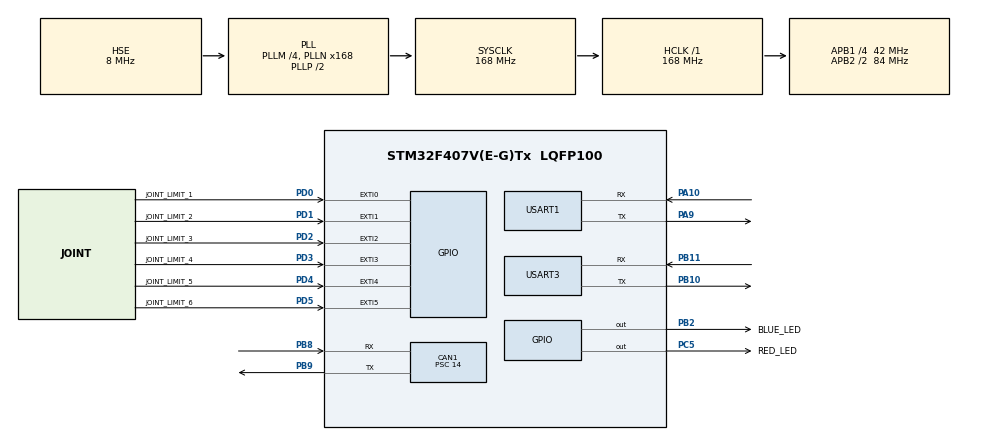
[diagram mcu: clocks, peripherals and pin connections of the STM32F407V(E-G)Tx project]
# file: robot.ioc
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CAN1.ABOM=DISABLE
CAN1.AWUM=ENABLE
CAN1.BS1=CAN_BS1_4TQ
CAN1.CalculateBaudRate=499999
CAN1.CalculateTimeBit=2000
CAN1.CalculateTimeQuantum=333.33333333333337
CAN1.Mode=CAN_MODE_NORMAL
CAN1.Prescaler=14
Dma.Request0=USART3_RX
Dma.USART3_RX.0.Direction=DMA_PERIPH_TO_MEMORY
Dma.USART3_RX.0.FIFOMode=DMA_FIFOMODE_DISABLE
Dma.USART3_RX.0.Instance=DMA1_Stream1
Dma.USART3_RX.0.MemDataAlignment=DMA_MDATAALIGN_BYTE
Dma.USART3_RX.0.MemInc=DMA_MINC_ENABLE
Dma.USART3_RX.0.Mode=DMA_CIRCULAR
Dma.USART3_RX.0.PeriphDataAlignment=DMA_PDATAALIGN_BYTE
Dma.USART3_RX.0.PeriphInc=DMA_PINC_DISABLE
Dma.USART3_RX.0.Priority=DMA_PRIORITY_HIGH
FREERTOS.Tasks01=defaultTask,24,128,StartDefaultTask,Default,NULL,Dynamic,NULL,NULL
FREERTOS.configENABLE_FPU=1
FREERTOS.configUSE_NEWLIB_REENTRANT=0
Mcu.Family=STM32F4
Mcu.Name=STM32F407V(E-G)Tx
Mcu.Package=LQFP100
NVIC.CAN1_RX0_IRQn=true\:6\:0\:true\:false\:true\:true\:true\:true\:true
NVIC.DMA1_Stream1_IRQn=true\:5\:0\:false\:false\:true\:true\:false\:true\:true
NVIC.EXTI0_IRQn=true\:5\:0\:true\:false\:true\:true\:true\:true\:true
NVIC.EXTI1_IRQn=true\:5\:0\:false\:false\:true\:true\:true\:true\:true
NVIC.EXTI2_IRQn=true\:5\:0\:false\:false\:true\:true\:true\:true\:true
NVIC.EXTI3_IRQn=true\:5\:0\:false\:false\:true\:true\:true\:true\:true
NVIC.EXTI4_IRQn=true\:5\:0\:false\:false\:true\:true\:true\:true\:true
NVIC.EXTI9_5_IRQn=true\:5\:0\:false\:false\:true\:true\:true\:true\:true
NVIC.PriorityGroup=NVIC_PRIORITYGROUP_4
NVIC.TIM6_DAC_IRQn=true\:15\:0\:false\:false\:true\:false\:false\:true\:true
NVIC.TimeBase=TIM6_DAC_IRQn
NVIC.TimeBaseIP=TIM6
NVIC.USART1_IRQn=true\:6\:0\:true\:false\:true\:true\:true\:true\:true
NVIC.USART3_IRQn=true\:6\:0\:true\:false\:true\:true\:true\:true\:true
PA10.Mode=Asynchronous
PA10.Signal=USART1_RX
PA13.Mode=Serial_Wire
PA13.Signal=SYS_JTMS-SWDIO
PA14.Mode=Serial_Wire
PA14.Signal=SYS_JTCK-SWCLK
PA9.Mode=Asynchronous
PA9.Signal=USART1_TX
PB10.Mode=Asynchronous
PB10.Signal=USART3_TX
PB11.Mode=Asynchronous
PB11.Signal=USART3_RX
PB2.GPIO_Label=BLUE_LED
PB2.PinState=GPIO_PIN_RESET
PB2.Signal=GPIO_Output
PB8.Mode=CAN_Activate
PB8.Signal=CAN1_RX
PB9.Mode=CAN_Activate
PB9.Signal=CAN1_TX
PC5.GPIO_Label=RED_LED
PC5.PinState=GPIO_PIN_RESET
PC5.Signal=GPIO_Output
PD0.GPIO_Label=JOINT_LIMIT_1
PD0.GPIO_ModeDefaultEXTI=GPIO_MODE_IT_RISING_FALLING
PD0.GPIO_PuPd=GPIO_PULLUP
PD0.Signal=GPXTI0
PD1.GPIO_Label=JOINT_LIMIT_2
PD1.GPIO_ModeDefaultEXTI=GPIO_MODE_IT_RISING_FALLING
PD1.GPIO_PuPd=GPIO_PULLUP
PD1.Signal=GPXTI1
PD2.GPIO_Label=JOINT_LIMIT_3
PD2.GPIO_ModeDefaultEXTI=GPIO_MODE_IT_RISING_FALLING
PD2.GPIO_PuPd=GPIO_PULLUP
PD2.Signal=GPXTI2
PD3.GPIO_Label=JOINT_LIMIT_4
PD3.GPIO_ModeDefaultEXTI=GPIO_MODE_IT_RISING_FALLING
PD3.GPIO_PuPd=GPIO_PULLUP
PD3.Signal=GPXTI3
PD4.GPIO_Label=JOINT_LIMIT_5
PD4.GPIO_ModeDefaultEXTI=GPIO_MODE_IT_RISING_FALLING
PD4.GPIO_PuPd=GPIO_PULLUP
PD4.Signal=GPXTI4
PD5.GPIO_Label=JOINT_LIMIT_6
PD5.GPIO_ModeDefaultEXTI=GPIO_MODE_IT_RISING_FALLING
PD5.GPIO_PuPd=GPIO_PULLUP
PD5.Signal=GPXTI5
PH0-OSC_IN.Mode=HSE-External-Oscillator
PH0-OSC_IN.Signal=RCC_OSC_IN
PH1-OSC_OUT.Mode=HSE-External-Oscillator
PH1-OSC_OUT.Signal=RCC_OSC_OUT
ProjectManager.HeapSize=0x200
ProjectManager.StackSize=0x400
ProjectManager.TargetToolchain=MDK-ARM V5
RCC.48MHZClocksFreq_Value=48000000
RCC.AHBFreq_Value=168000000
RCC.APB1CLKDivider=RCC_HCLK_DIV4
RCC.APB1Freq_Value=42000000
RCC.APB1TimFreq_Value=84000000
RCC.APB2CLKDivider=RCC_HCLK_DIV2
RCC.APB2Freq_Value=84000000
RCC.APB2TimFreq_Value=168000000
RCC.CortexFreq_Value=168000000
RCC.HCLKFreq_Value=168000000
RCC.HSE_VALUE=8000000
RCC.HSI_VALUE=16000000
RCC.LSE_VALUE=32768
RCC.PLLM=4
RCC.PLLN=168
RCC.PLLQ=7
RCC.PLLSourceVirtual=RCC_PLLSOURCE_HSE
RCC.SYSCLKFreq_VALUE=168000000
RCC.SYSCLKSource=RCC_SYSCLKSOURCE_PLLCLK
RCC.VCOOutputFreq_Value=336000000
USART1.VirtualMode=VM_ASYNC
USART3.VirtualMode=VM_ASYNC
VP_FREERTOS_VS_CMSIS_V2.Mode=CMSIS_V2
VP_RNG_VS_RNG.Mode=RNG_Activate
VP_SYS_VS_tim6.Mode=TIM6
board=custom

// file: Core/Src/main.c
/* USER CODE BEGIN Header */
/**
  ******************************************************************************
  * @file           : main.c
  * @brief          : Main program body
  ******************************************************************************
  * @attention
  *
  * Copyright (c) 2025 STMicroelectronics.
  * All rights reserved.
  *
  * This software is licensed under terms that can be found in the LICENSE file
  * in the root directory of this software component.
  * If no LICENSE file comes with this software, it is provided AS-IS.
  *
  ******************************************************************************
  */
/* USER CODE END Header */
#include "main.h"
#include "cmsis_os.h"
#include "can.h"
#include "dma.h"
#include "rng.h"
#include "usart.h"
#include "gpio.h"

/* USER CODE BEGIN Includes */
#include "stdio.h"
#include "esp8266_mqtt.h"
#include "usart.h"
/* USER CODE END Includes */

void SystemClock_Config(void);
void MX_FREERTOS_Init(void);

/* USER CODE BEGIN 0 */
static void log_reset_flags(void)
{
  uint32_t bor = __HAL_RCC_GET_FLAG(RCC_FLAG_BORRST);
  uint32_t por = __HAL_RCC_GET_FLAG(RCC_FLAG_PORRST);
  uint32_t pin = __HAL_RCC_GET_FLAG(RCC_FLAG_PINRST);
  uint32_t sft = __HAL_RCC_GET_FLAG(RCC_FLAG_SFTRST);
  uint32_t iwdg = __HAL_RCC_GET_FLAG(RCC_FLAG_IWDGRST);
  uint32_t wwdg = __HAL_RCC_GET_FLAG(RCC_FLAG_WWDGRST);
  uint32_t lpwr = __HAL_RCC_GET_FLAG(RCC_FLAG_LPWRRST);

  LOG("reset flags: BOR=%lu POR=%lu PIN=%lu SFT=%lu IWDG=%lu WWDG=%lu LPWR=%lu\n",
      (unsigned long)bor,
      (unsigned long)por,
      (unsigned long)pin,
      (unsigned long)sft,
      (unsigned long)iwdg,
      (unsigned long)wwdg,
      (unsigned long)lpwr);

  __HAL_RCC_CLEAR_RESET_FLAGS();
}

/* USER CODE END 0 */

int main(void)
{

  /* MCU Configuration--------------------------------------------------------*/

  /* Reset of all peripherals, Initializes the Flash interface and the Systick. */
  HAL_Init();

  /* Configure the system clock */
  SystemClock_Config();

  /* Initialize all configured peripherals */
  MX_GPIO_Init();
  MX_DMA_Init();
  MX_CAN1_Init();
  MX_RNG_Init();
  MX_USART1_UART_Init();
  MX_USART3_UART_Init();
  /* USER CODE BEGIN 2 */
  log_reset_flags();
  USER_CAN1_Filter_Init();

  if(HAL_CAN_Start(&hcan1) != HAL_OK) { // 启动CAN控制器
	  Error_Handler();
  }

  if(HAL_CAN_ActivateNotification(&hcan1, CAN_IT_RX_FIFO0_MSG_PENDING) != HAL_OK) { // 使能CAN控制器接收中断
	  Error_Handler();
  }

  /* USER CODE END 2 */

  /* Init scheduler */
  osKernelInitialize();

  /* Call init function for freertos objects (in cmsis_os2.c) */
  MX_FREERTOS_Init();

  /* Start scheduler */
  osKernelStart();

  /* We should never get here as control is now taken by the scheduler */

  /* Infinite loop */
  while (1)
  {

  }
}

void SystemClock_Config(void)
{
  RCC_OscInitTypeDef RCC_OscInitStruct = {0};
  RCC_ClkInitTypeDef RCC_ClkInitStruct = {0};

  /** Configure the main internal regulator output voltage
  */
  __HAL_RCC_PWR_CLK_ENABLE();
  __HAL_PWR_VOLTAGESCALING_CONFIG(PWR_REGULATOR_VOLTAGE_SCALE1);

  /** Initializes the RCC Oscillators according to the specified parameters
  * in the RCC_OscInitTypeDef structure.
  */
  RCC_OscInitStruct.OscillatorType = RCC_OSCILLATORTYPE_HSE;
  RCC_OscInitStruct.HSEState = RCC_HSE_ON;
  RCC_OscInitStruct.PLL.PLLState = RCC_PLL_ON;
  RCC_OscInitStruct.PLL.PLLSource = RCC_PLLSOURCE_HSE;
  RCC_OscInitStruct.PLL.PLLM = 4;
  RCC_OscInitStruct.PLL.PLLN = 168;
  RCC_OscInitStruct.PLL.PLLP = RCC_PLLP_DIV2;
  RCC_OscInitStruct.PLL.PLLQ = 7;
  if (HAL_RCC_OscConfig(&RCC_OscInitStruct) != HAL_OK)
  {
    Error_Handler();
  }

  /** Initializes the CPU, AHB and APB buses clocks
  */
  RCC_ClkInitStruct.ClockType = RCC_CLOCKTYPE_HCLK|RCC_CLOCKTYPE_SYSCLK
                              |RCC_CLOCKTYPE_PCLK1|RCC_CLOCKTYPE_PCLK2;
  RCC_ClkInitStruct.SYSCLKSource = RCC_SYSCLKSOURCE_PLLCLK;
  RCC_ClkInitStruct.AHBCLKDivider = RCC_SYSCLK_DIV1;
  RCC_ClkInitStruct.APB1CLKDivider = RCC_HCLK_DIV4;
  RCC_ClkInitStruct.APB2CLKDivider = RCC_HCLK_DIV2;

  if (HAL_RCC_ClockConfig(&RCC_ClkInitStruct, FLASH_LATENCY_5) != HAL_OK)
  {
    Error_Handler();
  }
}

void HAL_TIM_PeriodElapsedCallback(TIM_HandleTypeDef *htim)
{
  if (htim->Instance == TIM6) {
    HAL_IncTick();
  }
}

void Error_Handler(void)
{
  __disable_irq();
  while (1)
  {
  }
}
